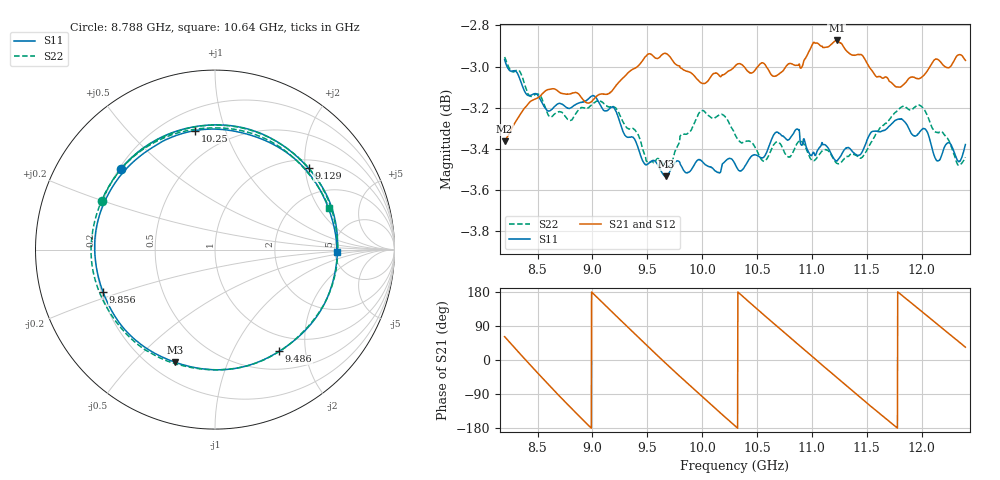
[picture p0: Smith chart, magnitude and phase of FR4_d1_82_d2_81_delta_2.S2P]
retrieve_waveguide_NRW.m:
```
%#######################################################################
% multiple frequency in a waveguide environment
% sample has thickness delta, total length of the waveguide is d1+delta+d2
% 
% Nicholson-Ross-Weir Conversion Method（NRW）
% 
% Advantages of NRW method
% ·Fast, non-iterative
% ·Applicable to waveguides and coaxial line
% 
% Disadvantages of NRW method
% ·Divergence at frequencies corresponding to multiples of one-half wavelength
% ·Short sample should be used （less than a quarter of wavelength）
% ·Not suitable for low loss materials
% 
% algorithm details can be found in NIST Technical Notes 1355-R/1341 or R&S
% tech notes
% 
% how to choose algorithm
% +---------------------+---------+-------+----------+
% | Material length/    | Methods | Speed | Accuracy |
% | magnetic properties |         |       |          |
% +=====================+=========+=======+==========+
% | Lossy solids+       |   NRW   |  Fast |  Medium  |
% | short+              |         |       |          |
% | non-magnetics       |         |       |          |
% +---------------------+---------+-------+----------+
% | low loss solids+    |   ITER  |  Slow |  Medium  |
% | short+              |         |       |          |
% | magnetics/non-mag.  |         |       |          |
% +---------------------+---------+-------+----------+
% | low loss solids+    |   NIST  |  Slow |   Good   |
% | long+               |         |       |          |
% | non-magnetics       |         |       |          |
% +---------------------+---------+-------+----------+
% | low loss solids+    |   NNI   |  Fast |   Good   |
% | long+               |         |       |          |
% | non-magnetics       |         |       |          |
% +---------------------+---------+-------+----------+
% 
% nanshu.wu@gmail.com
%#######################################################################
clear
clc
%#######################################################################
% tic
filename_1='dataset/FR4_d1_82_d2_81_delta_2.S2P';
filename_2='data/wr90 s21 fr-4 d1 0 d2 0 delta 73.txt';
is_simu=0;% simulation, choose 1; experiment choose 0;
a=22.86e-3; % waveguide size
h=10.16e-3; % waveguide size
delta=2e-3; % sample thickness
d1=82e-3; % distance from port 1 to sample front face
d2=81e-3; % distance from port 2 to sample end face
n=-5:5; % branched
non_magnetic=0;
smooth_method=0;
maxe_k=8;
ave_n=10;
gap_correction=0;
hg=0e-3;% gap in height
ds=1;%data sample span
plot_type=1; % plot type
%#######################################################################
eps0=8.85e-12; 
mu0=4*pi*1e-7; 
c=1/sqrt(eps0*mu0); 
f_cutoff=c/a/2;
legend_str=strings(length(n),1);
for ni=1:length(n)
legend_str{ni} = ['n=' num2str(n(ni))];
end
%#######################################################################
% import data 
switch is_simu
    case 1
        [ f, S11_re, S11_img ]=readS( filename_1,3,ds);
        [ ~, S21_re, S21_img ]=readS( filename_2,3,ds);
        S11_mag=abs(S11_re+1i.*S11_img);
        S11_phase=angle(S11_re+1i.*S11_img);
        S21_mag=abs(S21_re+1i.*S21_img);
        S21_phase=angle(S21_re+1i.*S21_img);
    case 0
        [ f, S11_mag, S11_phase, S21_mag, S21_phase,S12_mag,S12_phase,S22_mag,S22_phase ]=readS_fromtest( filename_1,9,ds);
        f=f./1e9;
end
%#######################################################################
f=f.*1E9;
omega=2*pi*f;
beta0=sqrt((omega./c).^2-(pi/a).^2);
Z0=omega.*mu0./beta0;
lambda0=c./f;% working frequency wavelength
lambdac=2*a;
lambda0g=lambda0./sqrt(1-(f_cutoff./f).^2);
group_delay_calculated=zeros(length(f),length(n));
R1=exp(-1i.*beta0.*d1);R2=exp(-1i.*beta0.*d2);
s11=(S11_mag.*exp(1i.*S11_phase))./(R1.^2);
s21=(S21_mag.*exp(1i.*S21_phase))./(R1.*R2);
V1=s21+s11;V2=s21-s11;
X=(1-V1.*V2)./(V1-V2);
ri_1=X+sqrt(X.^2-1);
ri_2=X-sqrt(X.^2-1);
if sum(abs(ri_1)<=1)==length(f)
    ri=ri_1;
elseif sum(abs(ri_1)<=1)==0
    ri=ri_2;
else
    ri(abs(ri_1)<=1)=ri_1(abs(ri_1)<=1);
    ri(abs(ri_1)>1)=ri_2(abs(ri_1)>1);
end
if size(ri,2)>length(n)
    ri=ri';
end
T=(s11+s21-ri)./(1-ri.*(s11+s21));
group_delay_measured=-gradient(unwrap(angle(T)))./gradient(f)/pi/2;% group delay measured
Kamp=abs(1./T);Kphase=unwrap(angle(1./T));
K=log(Kamp)+1i.*(Kphase+2.*pi.*n);
id_1=1i.*(K./2./pi./delta);
id_2=-1i.*(K./2./pi./delta);
id(real(id_1)>0)=id_1(real(id_1)>0);
id(real(id_1)<=0)=id_2(real(id_1)<=0);
id=reshape(id(:),length(f),[]);
switch non_magnetic
    case 0
        mu_ret=lambda0g.*id.*((1+ri)./(1-ri));
        eps_ret=lambda0.^2.*(id.^2+(1/lambdac).^2)./mu_ret;
    case 1
        mu_ret=ones(length(f),length(n));
        eps_ret=lambda0.^2.*(id.^2+(1/lambdac).^2)./mu_ret;
end
% group delay calculated 
for ni=1:length(n)
partial_p=real(sqrt((eps_ret(:,ni).*mu_ret(:,ni)./(lambda0.^2))-(1/lambdac).^2));
group_delay_calculated(:,ni)=delta.*gradient(partial_p)./gradient(f);
end
%#######################################################################
% Curve fitting evaluation
R_square=zeros(1,length(n));
for ni=1:length(n)
    ymean=mean(real(group_delay_measured));
    SStot=sum((ymean-real(group_delay_measured)).^2);
    SSreg=sum((real(group_delay_calculated(:,ni))-ymean).^2);
    SSres=sum((real(group_delay_measured)-real(group_delay_calculated(:,ni))).^2);
    R_square(ni)=1-(SSres)./(SStot);
end
%#######################################################################
% Branch Selection
selected_branch_base=find(R_square>0,1,'first');
selected_branch_all=find(R_square>0);
bss=find(min(abs(sum(diff(real(eps_ret(:,selected_branch_all))))))==abs(sum(diff(real(eps_ret(:,selected_branch_all))))));
selected_branch=selected_branch_base+bss-1;
%#######################################################################
% Air gap correction
if gap_correction==1
    hm=h-hg;
    % for eps
    eps_cr=real(eps_ret).*(hm./(h-(h-hm).*real(eps_ret)));
    ltanm=-imag(eps_ret)./real(eps_ret);
    ltanc=ltanm.*(h./(h-(h-hm).*real(eps_ret)));
    eps_ci=-1.*ltanc.*eps_cr;
    eps_ret=eps_cr+1i.*eps_ci;
    % for mu
    mu_cr=real(mu_ret).*(h./hm)-((h-hm)./hm);
    mu_ci=imag(mu_ret).*h./hm;
    mu_ret=mu_cr+1i.*mu_ci;
end
%#######################################################################
% Smoothing 
switch smooth_method
    case 1 %The method of maximum entropy
        for ni=1:length(n)
            eps_ret_r=real(eps_ret(:,ni));
            eps_ret_i=imag(eps_ret(:,ni));
            maxe_k; % k power least squares fit
            aki=ones(length(f),maxe_k);
            Moments=zeros(1,maxe_k);
            % Moments(1)=1;
            for akii=1:maxe_k
               aki(:,akii)=aki(:,akii).*omega.^(akii);
            end
            aki=aki';
            for ki=1:maxe_k
                for fi=1:length(f)
                    Moments(ki)=Moments(ki)+aki(ki,fi).*eps_ret_r(fi);
                end
            end
            Atran=aki';
            matC=aki*Atran;
            matD=inv(matC);
            matE=matD*Moments';
            eps_sr=Atran*matE;
            Moments=zeros(1,maxe_k);
            for ki=1:maxe_k
                for fi=1:length(f)
                    Moments(ki)=Moments(ki)+aki(ki,fi).*eps_ret_i(fi);
                end
            end
            Atran=aki';
            matC=aki*Atran;
            matD=inv(matC);
            matE=matD*Moments';
            eps_si=Atran*matE;
            eps_ret(:,ni)=eps_sr+1i*eps_si;
        end
    case 2 % A general method
        eps_ret=movmean(eps_ret,ave_n);
        mu_ret=movmean(mu_ret,ave_n);
    otherwise
end
%#######################################################################
% correct store format
eps_ret=conj(eps_ret);
mu_ret=conj(mu_ret);
%#######################################################################
% figures
switch plot_type
    case 1
        fg1=figure(1);
        subplot(161); 
        plot(f/1e9,real(eps_ret(:,selected_branch)),'Color','k'); 
        xlabel('Frequency in GHz') 
        ylabel('Re(\epsilon)') 
        ylim([-10 10])
        subplot(162) 
        plot(f/1e9,imag(eps_ret(:,selected_branch)),'Color','k'); 
        xlabel('Frequency in GHz') 
        ylabel('Im(\epsilon)')
        ylim([-10 10])
        subplot(163);
        plot(f/1e9,real(mu_ret(:,selected_branch)),'Color','k'); 
        xlabel('Frequency in GHz')
        ylabel('Re(\mu)') 
        ylim([-10 10])
        subplot(164) 
        plot(f/1e9,imag(mu_ret(:,selected_branch)),'Color','k'); 
        xlabel('Frequency in GHz') 
        ylabel('Im(\mu)')
        ylim([-10 10])
        subplot(165)
        plot(f/1e9,imag(eps_ret(:,selected_branch))./real(eps_ret(:,selected_branch)),'Color','k'); 
        xlabel('Frequency in GHz') 
        ylabel('\epsilon tan(\delta)')
        subplot(166)
        plot(f/1e9,imag(mu_ret(:,selected_branch))./real(mu_ret(:,selected_branch)),'Color','k'); 
        xlabel('Frequency in GHz') 
        ylabel('\mu tan(\delta)')
        fg1.Position = [500 500 1600 500];
        fg1.Color='w';
    case 2
        legend_str={'Re(\epsilon)','Im(\epsilon)','\epsilon tan(\delta)','Re(\mu)','Im(\mu)','\mu tan(\delta)'};
        fg1=figure(1);
        plot(f/1e9,real(eps_ret(:,selected_branch)),...
            f/1e9,imag(eps_ret(:,selected_branch)),...
            f/1e9,imag(eps_ret(:,selected_branch))./real(eps_ret(:,selected_branch)),...
            f/1e9,real(mu_ret(:,selected_branch)),...
            f/1e9,imag(mu_ret(:,selected_branch)),...
            f/1e9,imag(mu_ret(:,selected_branch))./real(mu_ret(:,selected_branch))); 
        legend(legend_str,'Location','northeastoutside');
        xlabel('Frequency in GHz')
        fg1.Position = [500 500 800 500];
        fg1.Color='w';
end
% toc
```
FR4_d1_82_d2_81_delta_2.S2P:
!Agilent Technologies,E5071C,MY46631589,B.13.30
!Date: Sun May 30 22:21:31 2021
!Data & Calibration Information:
!Freq	S11:SOLT2(ON)	S21:SOLT2(ON)	S12:SOLT2(ON)	S22:SOLT2(ON)
!PortZ  Port1:50+j0  Port2:50+j0
!Above PortZ is port z conversion or system Z0 setting when saving the data.
!When reading, reference impedance value at option line is always used.
# Hz S MA R 50
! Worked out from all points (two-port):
!   1601 points, 8.2 GHz to 12.4 GHz, reference 50 ohm
!   highest |S21| = -2.87 dB at 11.23 GHz (marker M1); lowest = -3.4 dB at 8.2 GHz (marker M2)
!   |S21| within 3 dB of the highest: start of sweep to end of sweep
!   lowest |S11| = -3.5 dB at 9.673 GHz (marker M3), VSWR 4.98, Z = 14.8 - j33.4 ohm
!   |S11| at or under -10 dB: nowhere
!   |S22| runs from -3.5 to -3.0 dB; largest |S21 - S12| = 0.011
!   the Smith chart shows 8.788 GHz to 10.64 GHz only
!   S11 on the Smith chart (normalised r, x): 8.788 GHz: 0.21, +0.36; 9.129 GHz: 1.21, +2.09; 9.486 GHz: 0.75, -1.54; 9.856 GHz: 0.21, -0.17; 10.25 GHz: 0.33, +0.79; 10.64 GHz: 5.24, -0.22
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8.2e9  0.7108 -35.7  0.679 61.6  0.678 62.1  0.7118 -22.2
8.788e9  0.6916 139.4  0.6972 -121.3  0.6952 -120.9  0.687 156.7
9.12925e9  0.6907 41.0  0.6971 140.7  0.6965 141.0  0.6926 59.1
9.48625e9  0.6701 -57.8  0.7121 41.4  0.7112 41.7  0.6726 -40.1
9.672625e9  0.6657 -109.3  0.7131 -9.7  0.7106 -9.4  0.6698 -90.9
9.856375e9  0.6671 -159.4  0.7062 -58.9  0.7055 -58.4  0.6817 -139.6
1.025012e10  0.6725 99.4  0.7064 -161.0  0.7042 -160.5  0.6856 118.7
1.03e10  0.6704 86.8  0.7082 -173.8  0.7064 -173.2  0.6816 105.9
1.063862e10  0.6802 -0.9  0.7044 100.0  0.7047 100.6  0.6765 20.2
1.122662e10  0.6716 -148.1  0.7184 -46.0  0.7192 -45.3  0.6707 -124.6
1.24e10  0.6777 -68.9  0.7104 33.8  0.7079 34.6  0.6729 -44.4
